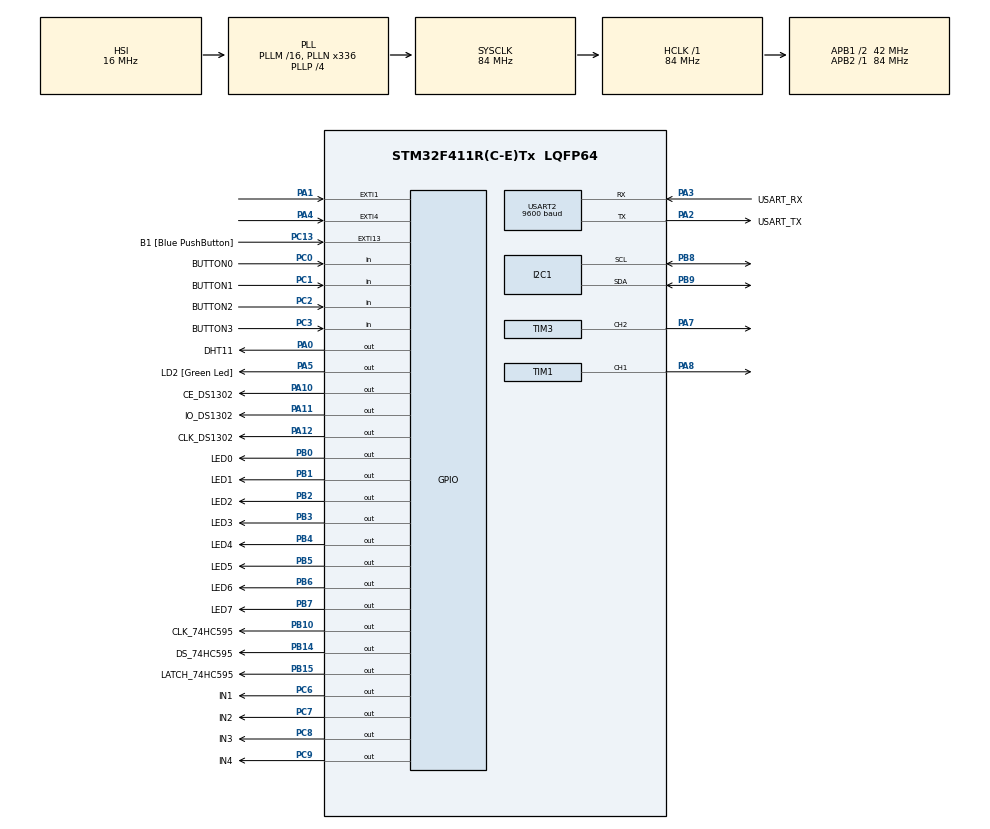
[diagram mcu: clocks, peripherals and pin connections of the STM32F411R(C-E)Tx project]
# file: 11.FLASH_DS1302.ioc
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FREERTOS.Mutexes01=myMutex01,Dynamic,NULL
FREERTOS.Tasks01=defaultTask,24,128,StartDefaultTask,Default,NULL,Dynamic,NULL,NULL;myTask01,8,128,StartTask01,Default,NULL,Dynamic,NULL,NULL;myTask02,8,128,StartTask02,Default,NULL,Dynamic,NULL,NULL
FREERTOS.configUSE_NEWLIB_REENTRANT=1
Mcu.Family=STM32F4
Mcu.Name=STM32F411R(C-E)Tx
Mcu.Package=LQFP64
NVIC.EXTI1_IRQn=true\:5\:0\:false\:false\:true\:true\:true\:true
NVIC.EXTI4_IRQn=true\:5\:0\:false\:false\:true\:true\:true\:true
NVIC.PriorityGroup=NVIC_PRIORITYGROUP_4
NVIC.TIM1_TRG_COM_TIM11_IRQn=true\:5\:0\:false\:false\:true\:false\:false\:true
NVIC.TIM1_UP_TIM10_IRQn=true\:5\:0\:false\:false\:true\:true\:true\:true
NVIC.TIM3_IRQn=true\:5\:0\:false\:false\:true\:true\:true\:true
NVIC.TimeBase=TIM1_TRG_COM_TIM11_IRQn
NVIC.TimeBaseIP=TIM11
NVIC.USART2_IRQn=true\:5\:0\:false\:false\:true\:true\:true\:true
PA0-WKUP.GPIO_Label=DHT11
PA0-WKUP.Signal=GPIO_Output
PA1.Signal=GPXTI1
PA10.GPIO_Label=CE_DS1302
PA10.Signal=GPIO_Output
PA11.GPIO_Label=IO_DS1302
PA11.Signal=GPIO_Output
PA12.GPIO_Label=CLK_DS1302
PA12.Signal=GPIO_Output
PA13.GPIO_Label=TMS
PA13.Mode=Serial_Wire
PA13.Signal=SYS_JTMS-SWDIO
PA14.GPIO_Label=TCK
PA14.Mode=Serial_Wire
PA14.Signal=SYS_JTCK-SWCLK
PA2.GPIO_Label=USART_TX
PA2.Mode=Asynchronous
PA2.Signal=USART2_TX
PA3.GPIO_Label=USART_RX
PA3.Mode=Asynchronous
PA3.Signal=USART2_RX
PA4.Signal=GPXTI4
PA5.GPIO_Label=LD2 [Green Led]
PA5.Signal=GPIO_Output
PA7.Signal=S_TIM3_CH2
PA8.Signal=S_TIM1_CH1
PB0.GPIO_Label=LED0
PB0.Signal=GPIO_Output
PB1.GPIO_Label=LED1
PB1.Signal=GPIO_Output
PB10.GPIO_Label=CLK_74HC595
PB10.Signal=GPIO_Output
PB14.GPIO_Label=DS_74HC595
PB14.Signal=GPIO_Output
PB15.GPIO_Label=LATCH_74HC595
PB15.Signal=GPIO_Output
PB2.GPIO_Label=LED2
PB2.Signal=GPIO_Output
PB3.GPIO_Label=LED3
PB3.Signal=GPIO_Output
PB4.GPIO_Label=LED4
PB4.Signal=GPIO_Output
PB5.GPIO_Label=LED5
PB5.Signal=GPIO_Output
PB6.GPIO_Label=LED6
PB6.Signal=GPIO_Output
PB7.GPIO_Label=LED7
PB7.Signal=GPIO_Output
PB8.Mode=I2C
PB8.Signal=I2C1_SCL
PB9.Mode=I2C
PB9.Signal=I2C1_SDA
PC0.GPIO_Label=BUTTON0
PC0.Signal=GPIO_Input
PC1.GPIO_Label=BUTTON1
PC1.Signal=GPIO_Input
PC13-ANTI_TAMP.GPIO_Label=B1 [Blue PushButton]
PC13-ANTI_TAMP.GPIO_ModeDefaultEXTI=GPIO_MODE_IT_FALLING
PC13-ANTI_TAMP.Signal=GPXTI13
PC14-OSC32_IN.Mode=LSE-External-Oscillator
PC14-OSC32_IN.Signal=RCC_OSC32_IN
PC15-OSC32_OUT.Mode=LSE-External-Oscillator
PC15-OSC32_OUT.Signal=RCC_OSC32_OUT
PC2.GPIO_Label=BUTTON2
PC2.Signal=GPIO_Input
PC3.GPIO_Label=BUTTON3
PC3.Signal=GPIO_Input
PC6.GPIO_Label=IN1
PC6.Signal=GPIO_Output
PC7.GPIO_Label=IN2
PC7.Signal=GPIO_Output
PC8.GPIO_Label=IN3
PC8.Signal=GPIO_Output
PC9.GPIO_Label=IN4
PC9.Signal=GPIO_Output
PH0\ -\ OSC_IN.Mode=HSE-External-Clock-Source
PH0\ -\ OSC_IN.Signal=RCC_OSC_IN
PH1\ -\ OSC_OUT.Mode=HSE-External-Clock-Source
PH1\ -\ OSC_OUT.Signal=RCC_OSC_OUT
ProjectManager.HeapSize=0x200
ProjectManager.StackSize=0x400
ProjectManager.TargetToolchain=STM32CubeIDE
RCC.48MHZClocksFreq_Value=84000000
RCC.AHBFreq_Value=84000000
RCC.APB1CLKDivider=RCC_HCLK_DIV2
RCC.APB1Freq_Value=42000000
RCC.APB1TimFreq_Value=84000000
RCC.APB2Freq_Value=84000000
RCC.APB2TimFreq_Value=84000000
RCC.CortexFreq_Value=84000000
RCC.FLatency-AdvancedSettings=FLASH_LATENCY_2
RCC.HCLKFreq_Value=84000000
RCC.HSE_VALUE=8000000
RCC.HSI_VALUE=16000000
RCC.PLLN=336
RCC.PLLP=RCC_PLLP_DIV4
RCC.SYSCLKFreq_VALUE=84000000
RCC.SYSCLKSource=RCC_SYSCLKSOURCE_PLLCLK
RCC.VCOOutputFreq_Value=336000000
RTC.Date=8
RTC.Hours=14
RTC.Minutes=37
RTC.Month=RTC_MONTH_OCTOBER
RTC.WeekDay=RTC_WEEKDAY_TUESDAY
RTC.Year=24
SH.S_TIM1_CH1.0=TIM1_CH1,PWM Generation1 CH1
SH.S_TIM3_CH2.0=TIM3_CH2,PWM Generation2 CH2
TIM1.Channel-PWM\ Generation1\ CH1=TIM_CHANNEL_1
TIM1.Period=400-1
TIM1.Prescaler=52.5-1
TIM1.Pulse-PWM\ Generation1\ CH1=200-1
TIM10.Period=1000-1
TIM10.Prescaler=84-1
TIM2.Period=4294967295
TIM2.Prescaler=84-1
TIM3.Channel-PWM\ Generation2\ CH2=TIM_CHANNEL_2
TIM3.Period=1000-1
TIM3.Prescaler=1680-1
USART2.BaudRate=9600
USART2.VirtualMode=VM_ASYNC
VP_FREERTOS_VS_CMSIS_V2.Mode=CMSIS_V2
VP_RTC_VS_RTC_Activate.Mode=RTC_Enabled
VP_RTC_VS_RTC_Calendar.Mode=RTC_Calendar
VP_SYS_VS_tim11.Mode=TIM11
VP_TIM10_VS_ClockSourceINT.Mode=Enable_Timer
VP_TIM1_VS_ClockSourceINT.Mode=Internal
VP_TIM2_VS_ClockSourceINT.Mode=Internal
VP_TIM3_VS_ClockSourceINT.Mode=Internal
board=NUCLEO-F411RE

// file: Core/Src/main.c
/* USER CODE BEGIN Header */
/**
  ******************************************************************************
  * @file           : main.c
  * @brief          : Main program body
  ******************************************************************************
  * @attention
  *
  * <h2><center>&copy; Copyright (c) 2024 STMicroelectronics.
  * All rights reserved.</center></h2>
  *
  * This software component is licensed by ST under BSD 3-Clause license,
  * the "License"; You may not use this file except in compliance with the
  * License. You may obtain a copy of the License at:
  *                        opensource.org/licenses/BSD-3-Clause
  *
  ******************************************************************************
  */
/* USER CODE END Header */
#include "main.h"
#include "cmsis_os.h"

I2C_HandleTypeDef hi2c1;

RTC_HandleTypeDef hrtc;

TIM_HandleTypeDef htim1;
TIM_HandleTypeDef htim2;
TIM_HandleTypeDef htim3;
TIM_HandleTypeDef htim10;

UART_HandleTypeDef huart2;

/* Definitions for defaultTask */
osThreadId_t defaultTaskHandle;
const osThreadAttr_t defaultTask_attributes = {
  .name = "defaultTask",
  .stack_size = 128 * 4,
  .priority = (osPriority_t) osPriorityNormal,
};
/* Definitions for myTask01 */
osThreadId_t myTask01Handle;
const osThreadAttr_t myTask01_attributes = {
  .name = "myTask01",
  .stack_size = 128 * 4,
  .priority = (osPriority_t) osPriorityLow,
};
/* Definitions for myTask02 */
osThreadId_t myTask02Handle;
const osThreadAttr_t myTask02_attributes = {
  .name = "myTask02",
  .stack_size = 128 * 4,
  .priority = (osPriority_t) osPriorityLow,
};
/* Definitions for myMutex01 */
osMutexId_t myMutex01Handle;
const osMutexAttr_t myMutex01_attributes = {
  .name = "myMutex01"
};
/* USER CODE BEGIN PV */
volatile int TIM10_1ms_counter = 0; //ADD_HAESUNG_09.30
volatile int TIM10_1ms_counter1 = 0;
volatile int TIM10_DHT11_counter = 0; // 10.08
volatile int TIM10_servo_motor_counter = 0; //10.17
uint8_t rx_data;
/* USER CODE END PV */

void SystemClock_Config(void);
static void MX_GPIO_Init(void);
static void MX_USART2_UART_Init(void);
static void MX_TIM10_Init(void);
static void MX_TIM2_Init(void);
static void MX_RTC_Init(void);
static void MX_I2C1_Init(void);
static void MX_TIM3_Init(void);
static void MX_TIM1_Init(void);
void StartDefaultTask(void *argument);
void StartTask01(void *argument);
void StartTask02(void *argument);

/* USER CODE BEGIN PFP */
extern void led_main(void);
extern void ledbar0_toggle(void);
extern void button_check(void);
extern void button_up(void);
extern void button0_test(void);
extern void button1_test(void);
extern void button2_test(void);
extern void pc_command_processing(void); //10.07
extern void delay_us(unsigned int us); //10.08
extern void DHT11_main(void); //10.08
extern void DHT11_processing(void); //10.08
extern void DHT11_Init(void); //10.08
extern void get_rtc_date_time(void); //10.08
extern void i2c_lcd_main(void); //10.10
extern void i2c_lcd_init(void); //10.10
extern void dotmatrix_main_test(); //10.14 //10.17
extern int dotmatrix_main_func(void); //10.14
extern void init_dotmatrix(void); //10.14
extern void dotmatrix_off(); //10.14
extern void up_arrow_display(void); //10.14
extern void down_arrow_display(void); //10.14
extern void button0_check(void); //10.14
extern void stepmotor_main(void); //10.15
extern void dot_dis_main(void); //10.15
extern void servo_motor_main(void); //10.17
extern void servo_motor_control(void); //10.17
extern void buzzer_main(); //10.17
extern void get_rtc_date(void); //10.18
extern void get_rtc_time(void); //10.18
extern void flash_main(); //10.23
extern void flash_set_time(void); //10.23
extern void real_time(void);

extern void ds1302_main(void); //10.24
extern void flash_ds1302_set_time(void);
extern void ds1302_set_time(char *time);

//extern void init_dotmatrix_arrow(void);
/* USER CODE END PFP */

/* USER CODE BEGIN 0 */
//------------ printf start -----------------------
#ifdef __GNUC__    // Add for printf
/* With GCC, small printf (option LD Linker->Libraries->Small printf
   set to 'Yes') calls __io_putchar() */
#define PUTCHAR_PROTOTYPE int __io_putchar(int ch)
#else
#define PUTCHAR_PROTOTYPE int fputc(int ch, FILE *f)
#endif /* __GNUC__ */
/**
  * @brief  Retargets the C library printf function to the USART.
  * @param  None
  * @retval None
  */
PUTCHAR_PROTOTYPE   // Add for printf
{
  /* Place your implementation of fputc here */
  /* e.g. write a character to the USART2 and Loop until the end of transmission */
  HAL_UART_Transmit(&huart2, (uint8_t *)&ch, 1, 0xFFFF);

  return ch;
}
//-------------------- printf end --------------------
/* USER CODE END 0 */

int main(void)
{

  /* MCU Configuration--------------------------------------------------------*/

  /* Reset of all peripherals, Initializes the Flash interface and the Systick. */
  HAL_Init();

  /* Configure the system clock */
  SystemClock_Config();

  /* Initialize all configured peripherals */
  MX_GPIO_Init();
  MX_USART2_UART_Init();
  MX_TIM10_Init();
  MX_TIM2_Init();
  MX_RTC_Init();
  MX_I2C1_Init();
  MX_TIM3_Init();
  MX_TIM1_Init();
  /* USER CODE BEGIN 2 */
  HAL_TIM_Base_Start_IT(&htim10); //ADD_HAESUNG_0930
  HAL_TIM_Base_Start_IT(&htim2); //ADD_HAESUNG_1008
  HAL_UART_Receive_IT(&huart2, &rx_data, 1); //ADD_HAESUNG_1007
  HAL_TIM_PWM_Start(&htim3, TIM_CHANNEL_2); //ADD_HAESUNG_1017 SERVO MOTOR PWM TIMER
  //HAL_TIM_PWM_Start(&htim1, TIM_CHANNEL_1); //10.17
  //DHT11_Init();
  //i2c_lcd_init();
  //buzzer_main();

	while(1)
	{

		//real_time();

//		if(TIM10_1ms_counter >= 1000)
//		{
			//TIM10_1ms_counter = 0 ;

			//flash_set_time();
		flash_ds1302_set_time();
		pc_command_processing();

		ds1302_main();

//		}
	}
  //dotmatrix_off();
  //init_dotmatrix();
  //init_dotmatrix_arrow();
  //printf("HAL_TIM_Base_Start_IT !!!!\n");
  //DHT11_main(); //10.08
  //led_main();
  //dotmatrix_main_test();
  //i2c_lcd_main();
  //stepmotor_main();
  //dotmatrix_main_test();
  /* USER CODE END 2 */

  /* Init scheduler */
  osKernelInitialize();
  /* Create the mutex(es) */
  /* creation of myMutex01 */
  myMutex01Handle = osMutexNew(&myMutex01_attributes);

  /* Create the thread(s) */
  /* creation of defaultTask */
  defaultTaskHandle = osThreadNew(StartDefaultTask, NULL, &defaultTask_attributes);

  /* creation of myTask01 */
  myTask01Handle = osThreadNew(StartTask01, NULL, &myTask01_attributes);

  /* creation of myTask02 */
  myTask02Handle = osThreadNew(StartTask02, NULL, &myTask02_attributes);

  /* Start scheduler */
  osKernelStart();

  /* We should never get here as control is now taken by the scheduler */
  /* Infinite loop */
  /* USER CODE BEGIN WHILE */
  while (1)
  {
	  // none-OS loop monitor
	  HAL_GPIO_TogglePin(GPIOA, GPIO_PIN_5);
	  HAL_Delay(500);
    /* USER CODE END WHILE */

  }
}

void SystemClock_Config(void)
{
  RCC_OscInitTypeDef RCC_OscInitStruct = {0};
  RCC_ClkInitTypeDef RCC_ClkInitStruct = {0};

  /** Configure the main internal regulator output voltage
  */
  __HAL_RCC_PWR_CLK_ENABLE();
  __HAL_PWR_VOLTAGESCALING_CONFIG(PWR_REGULATOR_VOLTAGE_SCALE1);
  /** Initializes the RCC Oscillators according to the specified parameters
  * in the RCC_OscInitTypeDef structure.
  */
  RCC_OscInitStruct.OscillatorType = RCC_OSCILLATORTYPE_HSI|RCC_OSCILLATORTYPE_LSI;
  RCC_OscInitStruct.HSIState = RCC_HSI_ON;
  RCC_OscInitStruct.HSICalibrationValue = RCC_HSICALIBRATION_DEFAULT;
  RCC_OscInitStruct.LSIState = RCC_LSI_ON;
  RCC_OscInitStruct.PLL.PLLState = RCC_PLL_ON;
  RCC_OscInitStruct.PLL.PLLSource = RCC_PLLSOURCE_HSI;
  RCC_OscInitStruct.PLL.PLLM = 16;
  RCC_OscInitStruct.PLL.PLLN = 336;
  RCC_OscInitStruct.PLL.PLLP = RCC_PLLP_DIV4;
  RCC_OscInitStruct.PLL.PLLQ = 4;
  if (HAL_RCC_OscConfig(&RCC_OscInitStruct) != HAL_OK)
  {
    Error_Handler();
  }
  /** Initializes the CPU, AHB and APB buses clocks
  */
  RCC_ClkInitStruct.ClockType = RCC_CLOCKTYPE_HCLK|RCC_CLOCKTYPE_SYSCLK
                              |RCC_CLOCKTYPE_PCLK1|RCC_CLOCKTYPE_PCLK2;
  RCC_ClkInitStruct.SYSCLKSource = RCC_SYSCLKSOURCE_PLLCLK;
  RCC_ClkInitStruct.AHBCLKDivider = RCC_SYSCLK_DIV1;
  RCC_ClkInitStruct.APB1CLKDivider = RCC_HCLK_DIV2;
  RCC_ClkInitStruct.APB2CLKDivider = RCC_HCLK_DIV1;

  if (HAL_RCC_ClockConfig(&RCC_ClkInitStruct, FLASH_LATENCY_2) != HAL_OK)
  {
    Error_Handler();
  }
}

static void MX_I2C1_Init(void)
{

  hi2c1.Instance = I2C1;
  hi2c1.Init.ClockSpeed = 100000;
  hi2c1.Init.DutyCycle = I2C_DUTYCYCLE_2;
  hi2c1.Init.OwnAddress1 = 0;
  hi2c1.Init.AddressingMode = I2C_ADDRESSINGMODE_7BIT;
  hi2c1.Init.DualAddressMode = I2C_DUALADDRESS_DISABLE;
  hi2c1.Init.OwnAddress2 = 0;
  hi2c1.Init.GeneralCallMode = I2C_GENERALCALL_DISABLE;
  hi2c1.Init.NoStretchMode = I2C_NOSTRETCH_DISABLE;
  if (HAL_I2C_Init(&hi2c1) != HAL_OK)
  {
    Error_Handler();
  }

}

static void MX_RTC_Init(void)
{

  RTC_TimeTypeDef sTime = {0};
  RTC_DateTypeDef sDate = {0};

  /** Initialize RTC Only
  */
  hrtc.Instance = RTC;
  hrtc.Init.HourFormat = RTC_HOURFORMAT_24;
  hrtc.Init.AsynchPrediv = 127;
  hrtc.Init.SynchPrediv = 255;
  hrtc.Init.OutPut = RTC_OUTPUT_DISABLE;
  hrtc.Init.OutPutPolarity = RTC_OUTPUT_POLARITY_HIGH;
  hrtc.Init.OutPutType = RTC_OUTPUT_TYPE_OPENDRAIN;
  if (HAL_RTC_Init(&hrtc) != HAL_OK)
  {
    Error_Handler();
  }

  /** Initialize RTC and set the Time and Date
  */
  sTime.Hours = 0x14;
  sTime.Minutes = 0x37;
  sTime.Seconds = 0x0;
  sTime.DayLightSaving = RTC_DAYLIGHTSAVING_NONE;
  sTime.StoreOperation = RTC_STOREOPERATION_RESET;
  if (HAL_RTC_SetTime(&hrtc, &sTime, RTC_FORMAT_BCD) != HAL_OK)
  {
    Error_Handler();
  }
  sDate.WeekDay = RTC_WEEKDAY_TUESDAY;
  sDate.Month = RTC_MONTH_OCTOBER;
  sDate.Date = 0x8;
  sDate.Year = 0x24;

  if (HAL_RTC_SetDate(&hrtc, &sDate, RTC_FORMAT_BCD) != HAL_OK)
  {
    Error_Handler();
  }

}

static void MX_TIM1_Init(void)
{

  TIM_ClockConfigTypeDef sClockSourceConfig = {0};
  TIM_MasterConfigTypeDef sMasterConfig = {0};
  TIM_OC_InitTypeDef sConfigOC = {0};
  TIM_BreakDeadTimeConfigTypeDef sBreakDeadTimeConfig = {0};

  htim1.Instance = TIM1;
  htim1.Init.Prescaler = 52.5-1;
  htim1.Init.CounterMode = TIM_COUNTERMODE_UP;
  htim1.Init.Period = 400-1;
  htim1.Init.ClockDivision = TIM_CLOCKDIVISION_DIV1;
  htim1.Init.RepetitionCounter = 0;
  htim1.Init.AutoReloadPreload = TIM_AUTORELOAD_PRELOAD_DISABLE;
  if (HAL_TIM_Base_Init(&htim1) != HAL_OK)
  {
    Error_Handler();
  }
  sClockSourceConfig.ClockSource = TIM_CLOCKSOURCE_INTERNAL;
  if (HAL_TIM_ConfigClockSource(&htim1, &sClockSourceConfig) != HAL_OK)
  {
    Error_Handler();
  }
  if (HAL_TIM_PWM_Init(&htim1) != HAL_OK)
  {
    Error_Handler();
  }
  sMasterConfig.MasterOutputTrigger = TIM_TRGO_RESET;
  sMasterConfig.MasterSlaveMode = TIM_MASTERSLAVEMODE_DISABLE;
  if (HAL_TIMEx_MasterConfigSynchronization(&htim1, &sMasterConfig) != HAL_OK)
  {
    Error_Handler();
  }
  sConfigOC.OCMode = TIM_OCMODE_PWM1;
  sConfigOC.Pulse = 200-1;
  sConfigOC.OCPolarity = TIM_OCPOLARITY_HIGH;
  sConfigOC.OCNPolarity = TIM_OCNPOLARITY_HIGH;
  sConfigOC.OCFastMode = TIM_OCFAST_DISABLE;
  sConfigOC.OCIdleState = TIM_OCIDLESTATE_RESET;
  sConfigOC.OCNIdleState = TIM_OCNIDLESTATE_RESET;
  if (HAL_TIM_PWM_ConfigChannel(&htim1, &sConfigOC, TIM_CHANNEL_1) != HAL_OK)
  {
    Error_Handler();
  }
  sBreakDeadTimeConfig.OffStateRunMode = TIM_OSSR_DISABLE;
  sBreakDeadTimeConfig.OffStateIDLEMode = TIM_OSSI_DISABLE;
  sBreakDeadTimeConfig.LockLevel = TIM_LOCKLEVEL_OFF;
  sBreakDeadTimeConfig.DeadTime = 0;
  sBreakDeadTimeConfig.BreakState = TIM_BREAK_DISABLE;
  sBreakDeadTimeConfig.BreakPolarity = TIM_BREAKPOLARITY_HIGH;
  sBreakDeadTimeConfig.AutomaticOutput = TIM_AUTOMATICOUTPUT_DISABLE;
  if (HAL_TIMEx_ConfigBreakDeadTime(&htim1, &sBreakDeadTimeConfig) != HAL_OK)
  {
    Error_Handler();
  }
  HAL_TIM_MspPostInit(&htim1);

}

static void MX_TIM2_Init(void)
{

  TIM_ClockConfigTypeDef sClockSourceConfig = {0};
  TIM_MasterConfigTypeDef sMasterConfig = {0};

  htim2.Instance = TIM2;
  htim2.Init.Prescaler = 84-1;
  htim2.Init.CounterMode = TIM_COUNTERMODE_UP;
  htim2.Init.Period = 4294967295;
  htim2.Init.ClockDivision = TIM_CLOCKDIVISION_DIV1;
  htim2.Init.AutoReloadPreload = TIM_AUTORELOAD_PRELOAD_DISABLE;
  if (HAL_TIM_Base_Init(&htim2) != HAL_OK)
  {
    Error_Handler();
  }
  sClockSourceConfig.ClockSource = TIM_CLOCKSOURCE_INTERNAL;
  if (HAL_TIM_ConfigClockSource(&htim2, &sClockSourceConfig) != HAL_OK)
  {
    Error_Handler();
  }
  sMasterConfig.MasterOutputTrigger = TIM_TRGO_RESET;
  sMasterConfig.MasterSlaveMode = TIM_MASTERSLAVEMODE_DISABLE;
  if (HAL_TIMEx_MasterConfigSynchronization(&htim2, &sMasterConfig) != HAL_OK)
  {
    Error_Handler();
  }

}

static void MX_TIM3_Init(void)
{

  TIM_ClockConfigTypeDef sClockSourceConfig = {0};
  TIM_MasterConfigTypeDef sMasterConfig = {0};
  TIM_OC_InitTypeDef sConfigOC = {0};

  htim3.Instance = TIM3;
  htim3.Init.Prescaler = 1680-1;
  htim3.Init.CounterMode = TIM_COUNTERMODE_UP;
  htim3.Init.Period = 1000-1;
  htim3.Init.ClockDivision = TIM_CLOCKDIVISION_DIV1;
  htim3.Init.AutoReloadPreload = TIM_AUTORELOAD_PRELOAD_DISABLE;
  if (HAL_TIM_Base_Init(&htim3) != HAL_OK)
  {
    Error_Handler();
  }
  sClockSourceConfig.ClockSource = TIM_CLOCKSOURCE_INTERNAL;
  if (HAL_TIM_ConfigClockSource(&htim3, &sClockSourceConfig) != HAL_OK)
  {
    Error_Handler();
  }
  if (HAL_TIM_PWM_Init(&htim3) != HAL_OK)
  {
    Error_Handler();
  }
  sMasterConfig.MasterOutputTrigger = TIM_TRGO_RESET;
  sMasterConfig.MasterSlaveMode = TIM_MASTERSLAVEMODE_DISABLE;
  if (HAL_TIMEx_MasterConfigSynchronization(&htim3, &sMasterConfig) != HAL_OK)
  {
    Error_Handler();
  }
  sConfigOC.OCMode = TIM_OCMODE_PWM1;
  sConfigOC.Pulse = 0;
  sConfigOC.OCPolarity = TIM_OCPOLARITY_HIGH;
  sConfigOC.OCFastMode = TIM_OCFAST_DISABLE;
  if (HAL_TIM_PWM_ConfigChannel(&htim3, &sConfigOC, TIM_CHANNEL_2) != HAL_OK)
  {
    Error_Handler();
  }
  HAL_TIM_MspPostInit(&htim3);

}

static void MX_TIM10_Init(void)
{

  htim10.Instance = TIM10;
  htim10.Init.Prescaler = 84-1;
  htim10.Init.CounterMode = TIM_COUNTERMODE_UP;
  htim10.Init.Period = 1000-1;
  htim10.Init.ClockDivision = TIM_CLOCKDIVISION_DIV1;
  htim10.Init.AutoReloadPreload = TIM_AUTORELOAD_PRELOAD_DISABLE;
  if (HAL_TIM_Base_Init(&htim10) != HAL_OK)
  {
    Error_Handler();
  }

}

static void MX_USART2_UART_Init(void)
{

  huart2.Instance = USART2;
  huart2.Init.BaudRate = 9600;
  huart2.Init.WordLength = UART_WORDLENGTH_8B;
  huart2.Init.StopBits = UART_STOPBITS_1;
  huart2.Init.Parity = UART_PARITY_NONE;
  huart2.Init.Mode = UART_MODE_TX_RX;
  huart2.Init.HwFlowCtl = UART_HWCONTROL_NONE;
  huart2.Init.OverSampling = UART_OVERSAMPLING_16;
  if (HAL_UART_Init(&huart2) != HAL_OK)
  {
    Error_Handler();
  }

}

static void MX_GPIO_Init(void)
{
  GPIO_InitTypeDef GPIO_InitStruct = {0};

  /* GPIO Ports Clock Enable */
  __HAL_RCC_GPIOC_CLK_ENABLE();
  __HAL_RCC_GPIOH_CLK_ENABLE();
  __HAL_RCC_GPIOA_CLK_ENABLE();
  __HAL_RCC_GPIOB_CLK_ENABLE();

  /*Configure GPIO pin Output Level */
  HAL_GPIO_WritePin(GPIOA, DHT11_Pin|LD2_Pin|CE_DS1302_Pin|IO_DS1302_Pin
                          |CLK_DS1302_Pin, GPIO_PIN_RESET);

  /*Configure GPIO pin Output Level */
  HAL_GPIO_WritePin(GPIOB, LED0_Pin|LED1_Pin|LED2_Pin|CLK_74HC595_Pin
                          |DS_74HC595_Pin|LATCH_74HC595_Pin|LED3_Pin|LED4_Pin
                          |LED5_Pin|LED6_Pin|LED7_Pin, GPIO_PIN_RESET);

  /*Configure GPIO pin Output Level */
  HAL_GPIO_WritePin(GPIOC, IN1_Pin|IN2_Pin|IN3_Pin|IN4_Pin, GPIO_PIN_RESET);

  /*Configure GPIO pin : B1_Pin */
  GPIO_InitStruct.Pin = B1_Pin;
  GPIO_InitStruct.Mode = GPIO_MODE_IT_FALLING;
  GPIO_InitStruct.Pull = GPIO_NOPULL;
  HAL_GPIO_Init(B1_GPIO_Port, &GPIO_InitStruct);

  /*Configure GPIO pins : BUTTON0_Pin BUTTON1_Pin BUTTON2_Pin BUTTON3_Pin */
  GPIO_InitStruct.Pin = BUTTON0_Pin|BUTTON1_Pin|BUTTON2_Pin|BUTTON3_Pin;
  GPIO_InitStruct.Mode = GPIO_MODE_INPUT;
  GPIO_InitStruct.Pull = GPIO_NOPULL;
  HAL_GPIO_Init(GPIOC, &GPIO_InitStruct);

  /*Configure GPIO pins : DHT11_Pin LD2_Pin CE_DS1302_Pin IO_DS1302_Pin
                           CLK_DS1302_Pin */
  GPIO_InitStruct.Pin = DHT11_Pin|LD2_Pin|CE_DS1302_Pin|IO_DS1302_Pin
                          |CLK_DS1302_Pin;
  GPIO_InitStruct.Mode = GPIO_MODE_OUTPUT_PP;
  GPIO_InitStruct.Pull = GPIO_NOPULL;
  GPIO_InitStruct.Speed = GPIO_SPEED_FREQ_LOW;
  HAL_GPIO_Init(GPIOA, &GPIO_InitStruct);

  /*Configure GPIO pins : PA1 PA4 */
  GPIO_InitStruct.Pin = GPIO_PIN_1|GPIO_PIN_4;
  GPIO_InitStruct.Mode = GPIO_MODE_IT_RISING;
  GPIO_InitStruct.Pull = GPIO_NOPULL;
  HAL_GPIO_Init(GPIOA, &GPIO_InitStruct);

  /*Configure GPIO pins : LED0_Pin LED1_Pin LED2_Pin CLK_74HC595_Pin
                           DS_74HC595_Pin LATCH_74HC595_Pin LED3_Pin LED4_Pin
                           LED5_Pin LED6_Pin LED7_Pin */
  GPIO_InitStruct.Pin = LED0_Pin|LED1_Pin|LED2_Pin|CLK_74HC595_Pin
                          |DS_74HC595_Pin|LATCH_74HC595_Pin|LED3_Pin|LED4_Pin
                          |LED5_Pin|LED6_Pin|LED7_Pin;
  GPIO_InitStruct.Mode = GPIO_MODE_OUTPUT_PP;
  GPIO_InitStruct.Pull = GPIO_NOPULL;
  GPIO_InitStruct.Speed = GPIO_SPEED_FREQ_LOW;
  HAL_GPIO_Init(GPIOB, &GPIO_InitStruct);

  /*Configure GPIO pins : IN1_Pin IN2_Pin IN3_Pin IN4_Pin */
  GPIO_InitStruct.Pin = IN1_Pin|IN2_Pin|IN3_Pin|IN4_Pin;
  GPIO_InitStruct.Mode = GPIO_MODE_OUTPUT_PP;
  GPIO_InitStruct.Pull = GPIO_NOPULL;
  GPIO_InitStruct.Speed = GPIO_SPEED_FREQ_LOW;
  HAL_GPIO_Init(GPIOC, &GPIO_InitStruct);

  /* EXTI interrupt init*/
  HAL_NVIC_SetPriority(EXTI1_IRQn, 5, 0);
  HAL_NVIC_EnableIRQ(EXTI1_IRQn);

  HAL_NVIC_SetPriority(EXTI4_IRQn, 5, 0);
  HAL_NVIC_EnableIRQ(EXTI4_IRQn);

}

void StartDefaultTask(void *argument)
{
  /* USER CODE BEGIN 5 */
  /* Infinite loop */
  for(;;)
  {

	//led_main();
	//button0_test();
	//button0_check();
	//dotmatrix_off();
	//up_arrow_display();
	//stepmotor_main();

    osDelay(1);

  }
  /* USER CODE END 5 */
}

void StartTask01(void *argument)
{
  /* USER CODE BEGIN StartTask01 */
  /* Infinite loop */
  for(;;)
  {
	  if(TIM10_1ms_counter >= 1000)
	  {
		  TIM10_1ms_counter = 0 ;
		  //flash_set_time();
	  }

	  //DHT11_processing();
	  //get_rtc_date_time();
	  //dotmatrix_main_func();
	  //up_arrow_display();
	  //dot_dis_main();
	  //dot_dis_main();
	  //stepmotor_main();
	  //servo_motor_main();
	  //dotmatrix_main_func();
//	  if(osMutexWait(myMutex01Handle, 1000) == osOK) //LOCK?�� 건다
//	  {
//		  //LOCK?�� 걸린 ?��?��
//		  get_rtc_time();
//		  osMutexRelease(myMutex01Handle); //UNLOCK : ?��?���? ??�? 반납?��?��. ?���? TASK�? ?�� ?�� ?��?���? Switch
//		  //?�� ?��?��?? 컨텍?��?�� ?��?���??�� 발생?���? ?��?��
// 	  }
	  osDelay(1);
	  //	  HAL_GPIO_TogglePin(GPIOA, GPIO_PIN_5);
	  //	  delay_us(50000); //50ms
	  //button1_test();
	  //ledbar0_toggle();
	  //osDelay(200);
  }
  /* USER CODE END StartTask01 */
}

void StartTask02(void *argument)
{
  /* USER CODE BEGIN StartTask02 */
  /* Infinite loop */
  for(;;)
  {

//
//	  if(TIM10_1ms_counter >= 100)
//	  {
//		  TIM10_1ms_counter = 0 ;
//		  HAL_GPIO_TogglePin(GPIOA, GPIO_PIN_5);
//	  }
//	  //button2_test();
	 //pc_command_processing();

	  //down_arrow_display();
	  //dot_dis_main();
	  //up_arrow_display();
	  //servo_motor_control();
	  //button_check();

//	  if(osMutexWait(myMutex01Handle, 1000) == osOK) //LOCK?�� 건다 //10.18 // I2CLCD Protocol?�� 꼬임 방�?�? ?��?�� mutex ?��?��
//	  {
//		  //LOCK?�� 걸린 ?��?��
//		  get_rtc_date();
//		  osMutexRelease(myMutex01Handle); //UNLOCK : ?��?���? ??�? 반납?��?��. ?���? TASK�? ?�� ?�� ?��?���? Switch
//		  //?�� ?��?��?? 컨텍?��?�� ?��?���??�� 발생?���? ?��?��
//	  }
	  osDelay(1);
	  //HAL_GPIO_TogglePin(GPIOA, GPIO_PIN_5);
	  //osDelay(100);
  }

  /* USER CODE END StartTask02 */
}

void HAL_TIM_PeriodElapsedCallback(TIM_HandleTypeDef *htim)
{
  if (htim->Instance == TIM11) {
    HAL_IncTick();
  }
  /* USER CODE BEGIN Callback 1 */
  if (htim->Instance == TIM10) {
	  TIM10_1ms_counter++; //ADD_HAESUNG_0930
	  TIM10_1ms_counter1++;
	  TIM10_DHT11_counter++;
	  TIM10_servo_motor_counter++;
  }

  /* USER CODE END Callback 1 */
}

void Error_Handler(void)
{
  __disable_irq();
  while (1)
  {
  }
}

/************************ (C) COPYRIGHT STMicroelectronics *****END OF FILE****/
